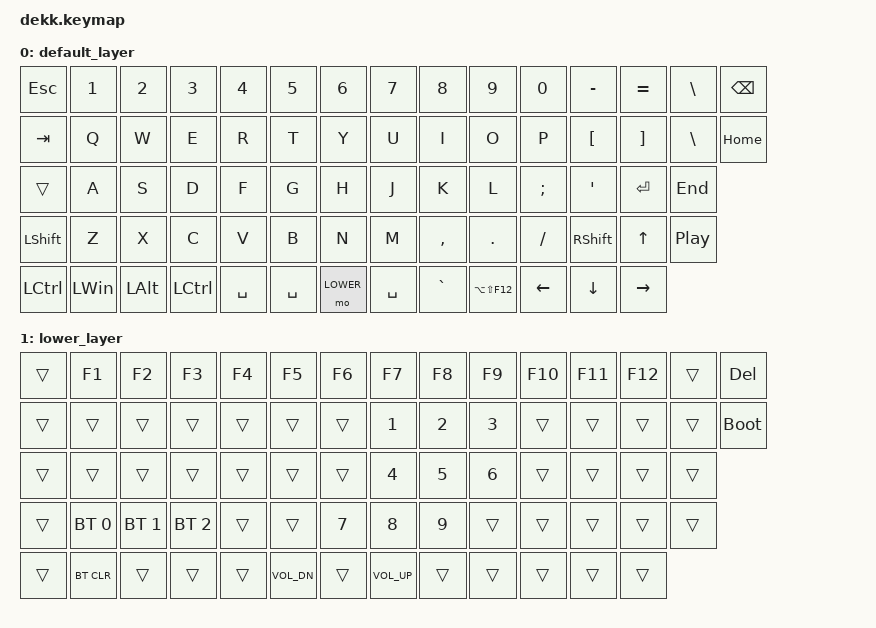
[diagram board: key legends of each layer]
#include <behaviors.dtsi>
#include <dt-bindings/zmk/bt.h>
#include <dt-bindings/zmk/keys.h>

#define DEFAULT 0
#define LOWER   1

/ {
    keymap {
        compatible = "zmk,keymap";

        default_layer {
            bindings = <
&kp ESC     &kp N1        &kp N2    &kp N3     &kp N4     &kp N5     &kp N6     &kp N7     &kp N8     &kp N9           &kp N0    &kp MINUS   &kp EQUAL  &kp BSLH          &kp BSPC
&kp TAB     &kp Q         &kp W     &kp E      &kp R      &kp T      &kp Y      &kp U      &kp I      &kp O            &kp P     &kp LBKT    &kp RBKT   &kp BSLH          &kp HOME
&trans      &kp A         &kp S     &kp D      &kp F      &kp G      &kp H      &kp J      &kp K      &kp L            &kp SEMI  &kp APOS    &kp ENTER  &kp END
&kp LSHIFT  &kp Z         &kp X     &kp C      &kp V      &kp B      &kp N      &kp M      &kp COMMA  &kp DOT          &kp FSLH  &kp RSHIFT  &kp UP     &kp C_PLAY_PAUSE
&kp LCTRL   &kp LEFT_WIN  &kp LALT  &kp LCTRL  &kp SPACE  &kp SPACE  &mo LOWER  &kp SPACE  &kp GRAVE  &kp LA(LS(F12))  &kp LEFT  &kp DOWN    &kp RIGHT
            >;
        };

        lower_layer {
            bindings = <
&trans  &kp F1        &kp F2        &kp F3        &kp F4  &kp F5        &kp F6  &kp F7        &kp F8        &kp F9        &kp F10  &kp F11  &kp F12  &trans  &kp DEL
&trans  &trans        &trans        &trans        &trans  &trans        &trans  &kp NUMBER_1  &kp NUMBER_2  &kp NUMBER_3  &trans   &trans   &trans   &trans  &bootloader
&trans  &trans        &trans        &trans        &trans  &trans        &trans  &kp NUMBER_4  &kp N5        &kp NUMBER_6  &trans   &trans   &trans   &trans
&trans  &bt BT_SEL 0  &bt BT_SEL 1  &bt BT_SEL 2  &trans  &trans        &kp N7  &kp N8        &kp N9        &trans        &trans   &trans   &trans   &trans
&trans  &bt BT_CLR    &trans        &trans        &trans  &kp C_VOL_DN  &trans  &kp C_VOL_UP  &trans        &trans        &trans   &trans   &trans
            >;
        };
    };
};
